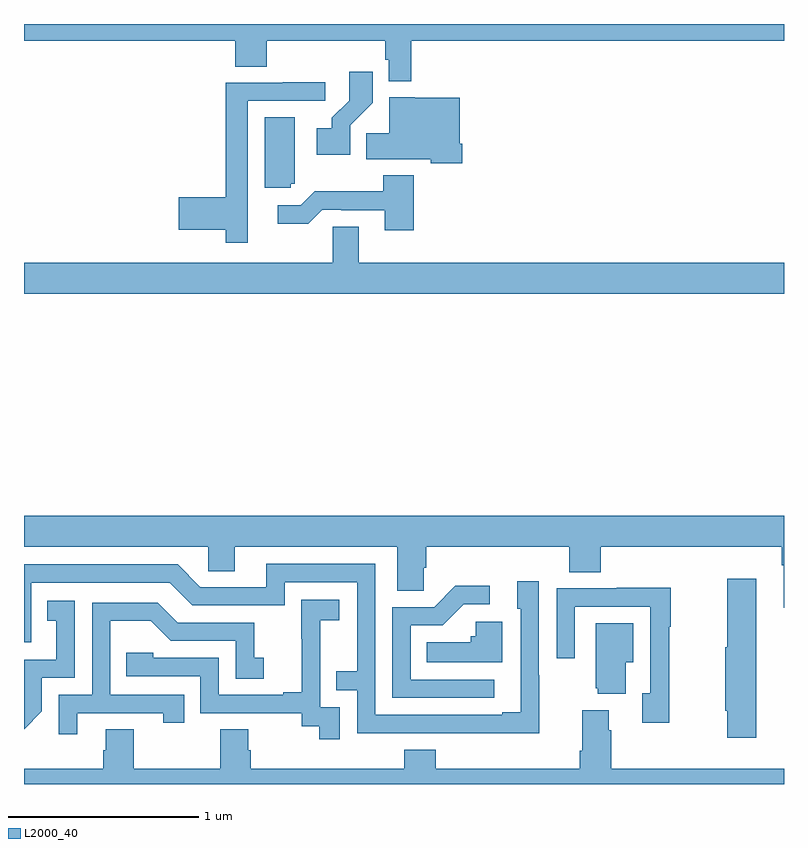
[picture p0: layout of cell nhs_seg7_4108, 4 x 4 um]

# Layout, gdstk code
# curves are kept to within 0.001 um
import gdstk
lib = gdstk.Library(unit=1e-6, precision=1e-09)
def P(c, l, *ps):  # polygons
    for p in ps: c.add(gdstk.Polygon(p, *l))
L2000_40 = (2000, 40)

nhs_seg7_4108 = lib.new_cell('nhs_seg7_4108')
P(nhs_seg7_4108, L2000_40, [(373.037,1037.912),(375,1037.912),(375,1038),(371,1038),(371,1037.912),(372.113,1037.912),(372.113,1037.776),(372.278,1037.776),(372.278,1037.912),(372.901,1037.912),(372.901,1037.811),(372.921,1037.811),(372.921,1037.699),(373.037,1037.699)],
  [(372.717,1037.467),(372.836,1037.586),(372.836,1037.749),(372.711,1037.749),(372.711,1037.597),(372.62,1037.507),(372.62,1037.452),(372.54,1037.452),(372.54,1037.312),(372.717,1037.312)],
  [(372.178,1037.07),(372.177,1037.07),(372.177,1037.595),(372.586,1037.595),(372.586,1037.694),(372.361,1037.694),(372.361,1037.691),(372.061,1037.691),(372.061,1037.087),(371.814,1037.087),(371.814,1036.916),(372.061,1036.916),(372.061,1036.848),(372.178,1036.848)],
  [(373.307,1037.371),(373.294,1037.371),(373.294,1037.611),(373.056,1037.611),(373.056,1037.614),(372.923,1037.614),(372.923,1037.426),(372.802,1037.426),(372.802,1037.288),(373.14,1037.288),(373.14,1037.267),(373.307,1037.267)],
  [(372.405,1037.16),(372.424,1037.16),(372.424,1037.509),(372.266,1037.509),(372.266,1037.139),(372.405,1037.139)],
  [(373.052,1037.203),(372.892,1037.203),(372.892,1037.119),(372.529,1037.119),(372.456,1037.046),(372.336,1037.046),(372.336,1036.949),(372.497,1036.949),(372.57,1037.022),(372.67,1037.022),(372.67,1037.019),(372.899,1037.019),(372.899,1036.914),(373.052,1036.914)],
  [(375,1036.744),(372.763,1036.744),(372.763,1036.934),(372.624,1036.934),(372.624,1036.744),(371,1036.744),(371,1036.58),(375,1036.58)],
  [(375,1035.412),(371,1035.412),(371,1035.248),(371.97,1035.248),(371.97,1035.121),(372.109,1035.121),(372.109,1035.248),(372.965,1035.248),(372.965,1035.016),(373.104,1035.016),(373.104,1035.139),(373.118,1035.139),(373.118,1035.248),(373.871,1035.248),(373.871,1035.115),(374.036,1035.115),(374.036,1035.248),(374.987,1035.248),(374.987,1035.152),(374.999,1035.152),(374.999,1034.928),(375,1034.928)],
  [(373.713,1034.573),(373.71,1034.573),(373.71,1035.067),(373.595,1035.067),(373.595,1034.922),(373.614,1034.922),(373.614,1034.377),(373.517,1034.377),(373.517,1034.364),(372.849,1034.364),(372.849,1035.159),(372.275,1035.159),(372.275,1035.036),(371.928,1035.036),(371.808,1035.156),(371,1035.156),(371,1034.745),(371.037,1034.745),(371.037,1035.06),(371.766,1035.06),(371.886,1034.94),(372.372,1034.94),(372.372,1035.063),(372.753,1035.063),(372.753,1034.594),(372.643,1034.594),(372.643,1034.493),(372.753,1034.493),(372.753,1034.268),(373.713,1034.267)],
  [(374.854,1035.079),(374.701,1035.079),(374.701,1034.721),(374.69,1034.721),(374.69,1034.385),(374.701,1034.385),(374.701,1034.244),(374.854,1034.244)],
  [(373.474,1034.55),(373.035,1034.55),(373.035,1034.835),(373.204,1034.835),(373.315,1034.946),(373.45,1034.946),(373.45,1035.044),(373.271,1035.044),(373.158,1034.931),(372.939,1034.931),(372.939,1034.454),(373.474,1034.454)],
  [(374.396,1034.827),(374.404,1034.827),(374.404,1035.032),(374.119,1035.032),(374.119,1035.03),(373.803,1035.03),(373.803,1034.661),(373.899,1034.661),(373.899,1034.934),(374.295,1034.934),(374.295,1034.478),(374.255,1034.478),(374.255,1034.322),(374.396,1034.322)],
  [(372.663,1034.403),(372.558,1034.403),(372.558,1034.632),(372.56,1034.632),(372.56,1034.861),(372.658,1034.861),(372.658,1034.971),(372.46,1034.971),(372.46,1034.765),(372.461,1034.765),(372.461,1034.482),(372.365,1034.482),(372.365,1034.469),(372.024,1034.469),(372.024,1034.664),(371.679,1034.664),(371.679,1034.691),(371.539,1034.691),(371.539,1034.568),(371.928,1034.568),(371.928,1034.373),(372.462,1034.373),(372.462,1034.305),(372.555,1034.305),(372.555,1034.235),(372.663,1034.235)],
  [(371.094,1034.382),(371.094,1034.559),(371.268,1034.559),(371.268,1034.965),(371.122,1034.965),(371.122,1034.859),(371.171,1034.859),(371.171,1034.655),(371,1034.655),(371,1034.289)],
  [(371.281,1034.373),(371.732,1034.373),(371.732,1034.322),(371.843,1034.322),(371.843,1034.469),(371.454,1034.469),(371.454,1034.858),(371.668,1034.858),(371.772,1034.754),(372.114,1034.754),(372.114,1034.555),(372.262,1034.555),(372.262,1034.665),(372.213,1034.665),(372.213,1034.85),(371.809,1034.85),(371.704,1034.955),(371.358,1034.955),(371.358,1034.469),(371.184,1034.469),(371.184,1034.262),(371.281,1034.262)],
  [(373.516,1034.854),(373.377,1034.854),(373.377,1034.778),(373.351,1034.778),(373.351,1034.746),(373.12,1034.746),(373.12,1034.642),(373.516,1034.642)],
  [(374.167,1034.642),(374.206,1034.642),(374.206,1034.845),(374.009,1034.845),(374.009,1034.505),(374.021,1034.505),(374.021,1034.474),(374.167,1034.474)],
  [(375,1034.08),(374.09,1034.08),(374.09,1034.282),(374.077,1034.282),(374.077,1034.389),(373.937,1034.389),(373.937,1034.176),(373.925,1034.176),(373.925,1034.08),(373.166,1034.08),(373.166,1034.179),(373.001,1034.179),(373.001,1034.08),(372.194,1034.08),(372.194,1034.178),(372.181,1034.178),(372.181,1034.288),(372.034,1034.288),(372.034,1034.08),(371.577,1034.08),(371.577,1034.288),(371.429,1034.288),(371.429,1034.178),(371.417,1034.178),(371.417,1034.08),(371,1034.08),(371,1034),(375,1034)])

lib.write_gds('nhs_seg7_4108.gds')
